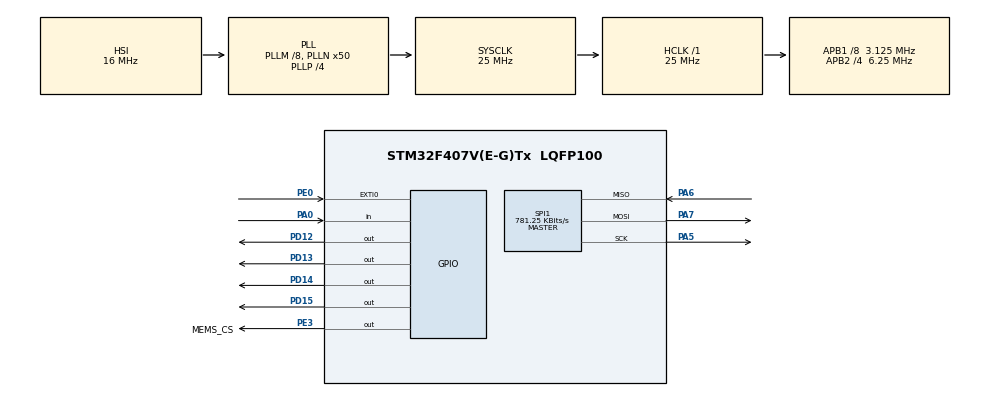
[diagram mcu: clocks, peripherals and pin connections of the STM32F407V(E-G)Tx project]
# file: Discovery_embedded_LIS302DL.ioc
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Mcu.Family=STM32F4
Mcu.Name=STM32F407V(E-G)Tx
Mcu.Package=LQFP100
NVIC.EXTI0_IRQn=true\:0\:0\:false\:false\:true\:true
NVIC.PriorityGroup=NVIC_PRIORITYGROUP_4
PA0-WKUP.Signal=GPIO_Input
PA5.Mode=Full_Duplex_Master
PA5.Signal=SPI1_SCK
PA6.Mode=Full_Duplex_Master
PA6.Signal=SPI1_MISO
PA7.Mode=Full_Duplex_Master
PA7.Signal=SPI1_MOSI
PD12.Signal=GPIO_Output
PD13.Signal=GPIO_Output
PD14.Signal=GPIO_Output
PD15.Signal=GPIO_Output
PE0.Signal=GPXTI0
PE3.GPIO_Label=MEMS_CS
PE3.Signal=GPIO_Output
ProjectManager.HeapSize=0x200
ProjectManager.StackSize=0x400
ProjectManager.TargetToolchain=MDK-ARM V5
RCC.48MHZClocksFreq_Value=25000000
RCC.AHBFreq_Value=25000000
RCC.APB1CLKDivider=RCC_HCLK_DIV8
RCC.APB1Freq_Value=3125000
RCC.APB1TimFreq_Value=6250000
RCC.APB2CLKDivider=RCC_HCLK_DIV4
RCC.APB2Freq_Value=6250000
RCC.APB2TimFreq_Value=12500000
RCC.CortexFreq_Value=25000000
RCC.HCLKFreq_Value=25000000
RCC.HSE_VALUE=25000000
RCC.HSI_VALUE=16000000
RCC.LSE_VALUE=32768
RCC.PLLM=8
RCC.PLLN=50
RCC.PLLP=RCC_PLLP_DIV4
RCC.SYSCLKFreq_VALUE=25000000
RCC.SYSCLKSource=RCC_SYSCLKSOURCE_PLLCLK
RCC.VCOOutputFreq_Value=100000000
SPI1.BaudRatePrescaler=SPI_BAUDRATEPRESCALER_8
SPI1.CalculateBaudRate=781.25 KBits/s
SPI1.Direction=SPI_DIRECTION_2LINES
SPI1.Mode=SPI_MODE_MASTER
SPI1.VirtualType=VM_MASTER
board=custom

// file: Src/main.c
/* USER CODE BEGIN Header */
/**
  ******************************************************************************
  * @file           : main.c
  * @brief          : Main program body
  ******************************************************************************
  ** This notice applies to any and all portions of this file
  * that are not between comment pairs USER CODE BEGIN and
  * USER CODE END. Other portions of this file, whether
  * inserted by the user or by software development tools
  * are owned by their respective copyright owners.
  *
  * COPYRIGHT(c) 2020 STMicroelectronics
  *
  * Redistribution and use in source and binary forms, with or without modification,
  * are permitted provided that the following conditions are met:
  *   1. Redistributions of source code must retain the above copyright notice,
  *      this list of conditions and the following disclaimer.
  *   2. Redistributions in binary form must reproduce the above copyright notice,
  *      this list of conditions and the following disclaimer in the documentation
  *      and/or other materials provided with the distribution.
  *   3. Neither the name of STMicroelectronics nor the names of its contributors
  *      may be used to endorse or promote products derived from this software
  *      without specific prior written permission.
  *
  * THIS SOFTWARE IS PROVIDED BY THE COPYRIGHT HOLDERS AND CONTRIBUTORS "AS IS"
  * AND ANY EXPRESS OR IMPLIED WARRANTIES, INCLUDING, BUT NOT LIMITED TO, THE
  * IMPLIED WARRANTIES OF MERCHANTABILITY AND FITNESS FOR A PARTICULAR PURPOSE ARE
  * DISCLAIMED. IN NO EVENT SHALL THE COPYRIGHT HOLDER OR CONTRIBUTORS BE LIABLE
  * FOR ANY DIRECT, INDIRECT, INCIDENTAL, SPECIAL, EXEMPLARY, OR CONSEQUENTIAL
  * DAMAGES (INCLUDING, BUT NOT LIMITED TO, PROCUREMENT OF SUBSTITUTE GOODS OR
  * SERVICES; LOSS OF USE, DATA, OR PROFITS; OR BUSINESS INTERRUPTION) HOWEVER
  * CAUSED AND ON ANY THEORY OF LIABILITY, WHETHER IN CONTRACT, STRICT LIABILITY,
  * OR TORT (INCLUDING NEGLIGENCE OR OTHERWISE) ARISING IN ANY WAY OUT OF THE USE
  * OF THIS SOFTWARE, EVEN IF ADVISED OF THE POSSIBILITY OF SUCH DAMAGE.
  *
  ******************************************************************************
  */
/* USER CODE END Header */

#include "main.h"

/* USER CODE BEGIN Includes */
#include "MY_LIS3DSH.h"
/* USER CODE END Includes */

SPI_HandleTypeDef hspi1;

void SystemClock_Config(void);
static void MX_GPIO_Init(void);
static void MX_SPI1_Init(void);

/* USER CODE BEGIN 0 */
	LIS3DSH_DataScaled accData;
/* USER CODE END 0 */

int main(void)
{
  /* USER CODE BEGIN 1 */
	LIS3DSH_InitTypeDef accConfig;
  /* USER CODE END 1 */

  /* MCU Configuration--------------------------------------------------------*/

  /* Reset of all peripherals, Initializes the Flash interface and the Systick. */
  HAL_Init();

  /* Configure the system clock */
  SystemClock_Config();

  /* Initialize all configured peripherals */
  MX_GPIO_Init();
  MX_SPI1_Init();
  /* USER CODE BEGIN 2 */
	accConfig.dataRate = LIS3DSH_DATARATE_12_5 ;
	accConfig.fullScale = LIS3DSH_FULLSCALE_4 ;
	accConfig.antiAliasingBW = LIS3DSH_FILTER_BW_50;
	accConfig.enableAxes = LIS3DSH_XYZ_ENABLE;
	accConfig.interruptEnable = false;

  LIS3DSH_Init(&hspi1, &accConfig);

	LIS3DSH_X_calibrate(-1000.0, 980.0);
	LIS3DSH_Y_calibrate(-1020.0, 1040.0);
	LIS3DSH_Z_calibrate(-920.0, 1040.0);

	/* USER CODE END 2 */

  /* Infinite loop */
  while (1)
  {

    /* USER CODE BEGIN 3 */
		if(LIS3DSH_PollDRDY(1000) == true){
			accData = LIS3DSH_GetDataScaled();
			HAL_GPIO_TogglePin(GPIOD, GPIO_PIN_12);
			if(accData.x < 0 )HAL_GPIO_TogglePin(GPIOD, GPIO_PIN_14);
			else if(accData.x >= 0)HAL_GPIO_WritePin(GPIOD,GPIO_PIN_14, 0x00);
  }
  /* USER CODE END 3 */
}

void SystemClock_Config(void)
{
  RCC_OscInitTypeDef RCC_OscInitStruct = {0};
  RCC_ClkInitTypeDef RCC_ClkInitStruct = {0};

  /**Configure the main internal regulator output voltage
  */
  __HAL_RCC_PWR_CLK_ENABLE();
  __HAL_PWR_VOLTAGESCALING_CONFIG(PWR_REGULATOR_VOLTAGE_SCALE1);
  /**Initializes the CPU, AHB and APB busses clocks
  */
  RCC_OscInitStruct.OscillatorType = RCC_OSCILLATORTYPE_HSI;
  RCC_OscInitStruct.HSIState = RCC_HSI_ON;
  RCC_OscInitStruct.HSICalibrationValue = RCC_HSICALIBRATION_DEFAULT;
  RCC_OscInitStruct.PLL.PLLState = RCC_PLL_ON;
  RCC_OscInitStruct.PLL.PLLSource = RCC_PLLSOURCE_HSI;
  RCC_OscInitStruct.PLL.PLLM = 8;
  RCC_OscInitStruct.PLL.PLLN = 50;
  RCC_OscInitStruct.PLL.PLLP = RCC_PLLP_DIV4;
  RCC_OscInitStruct.PLL.PLLQ = 4;
  if (HAL_RCC_OscConfig(&RCC_OscInitStruct) != HAL_OK)
  {
    Error_Handler();
  }
  /**Initializes the CPU, AHB and APB busses clocks
  */
  RCC_ClkInitStruct.ClockType = RCC_CLOCKTYPE_HCLK|RCC_CLOCKTYPE_SYSCLK
                              |RCC_CLOCKTYPE_PCLK1|RCC_CLOCKTYPE_PCLK2;
  RCC_ClkInitStruct.SYSCLKSource = RCC_SYSCLKSOURCE_PLLCLK;
  RCC_ClkInitStruct.AHBCLKDivider = RCC_SYSCLK_DIV1;
  RCC_ClkInitStruct.APB1CLKDivider = RCC_HCLK_DIV8;
  RCC_ClkInitStruct.APB2CLKDivider = RCC_HCLK_DIV4;

  if (HAL_RCC_ClockConfig(&RCC_ClkInitStruct, FLASH_LATENCY_0) != HAL_OK)
  {
    Error_Handler();
  }
}

static void MX_SPI1_Init(void)
{

  /* SPI1 parameter configuration*/
  hspi1.Instance = SPI1;
  hspi1.Init.Mode = SPI_MODE_MASTER;
  hspi1.Init.Direction = SPI_DIRECTION_2LINES;
  hspi1.Init.DataSize = SPI_DATASIZE_8BIT;
  hspi1.Init.CLKPolarity = SPI_POLARITY_LOW;
  hspi1.Init.CLKPhase = SPI_PHASE_1EDGE;
  hspi1.Init.NSS = SPI_NSS_SOFT;
  hspi1.Init.BaudRatePrescaler = SPI_BAUDRATEPRESCALER_8;
  hspi1.Init.FirstBit = SPI_FIRSTBIT_MSB;
  hspi1.Init.TIMode = SPI_TIMODE_DISABLE;
  hspi1.Init.CRCCalculation = SPI_CRCCALCULATION_DISABLE;
  hspi1.Init.CRCPolynomial = 10;
  if (HAL_SPI_Init(&hspi1) != HAL_OK)
  {
    Error_Handler();
  }

}

static void MX_GPIO_Init(void)
{
  GPIO_InitTypeDef GPIO_InitStruct = {0};

  /* GPIO Ports Clock Enable */
  __HAL_RCC_GPIOE_CLK_ENABLE();
  __HAL_RCC_GPIOA_CLK_ENABLE();
  __HAL_RCC_GPIOD_CLK_ENABLE();

  /*Configure GPIO pin Output Level */
  HAL_GPIO_WritePin(MEMS_CS_GPIO_Port, MEMS_CS_Pin, GPIO_PIN_RESET);

  /*Configure GPIO pin Output Level */
  HAL_GPIO_WritePin(GPIOD, GPIO_PIN_12|GPIO_PIN_13|GPIO_PIN_14|GPIO_PIN_15, GPIO_PIN_RESET);

  /*Configure GPIO pin : MEMS_CS_Pin */
  GPIO_InitStruct.Pin = MEMS_CS_Pin;
  GPIO_InitStruct.Mode = GPIO_MODE_OUTPUT_PP;
  GPIO_InitStruct.Pull = GPIO_NOPULL;
  GPIO_InitStruct.Speed = GPIO_SPEED_FREQ_LOW;
  HAL_GPIO_Init(MEMS_CS_GPIO_Port, &GPIO_InitStruct);

  /*Configure GPIO pin : PA0 */
  GPIO_InitStruct.Pin = GPIO_PIN_0;
  GPIO_InitStruct.Mode = GPIO_MODE_INPUT;
  GPIO_InitStruct.Pull = GPIO_NOPULL;
  HAL_GPIO_Init(GPIOA, &GPIO_InitStruct);

  /*Configure GPIO pins : PD12 PD13 PD14 PD15 */
  GPIO_InitStruct.Pin = GPIO_PIN_12|GPIO_PIN_13|GPIO_PIN_14|GPIO_PIN_15;
  GPIO_InitStruct.Mode = GPIO_MODE_OUTPUT_PP;
  GPIO_InitStruct.Pull = GPIO_NOPULL;
  GPIO_InitStruct.Speed = GPIO_SPEED_FREQ_LOW;
  HAL_GPIO_Init(GPIOD, &GPIO_InitStruct);

  /*Configure GPIO pin : PE0 */
  GPIO_InitStruct.Pin = GPIO_PIN_0;
  GPIO_InitStruct.Mode = GPIO_MODE_IT_RISING;
  GPIO_InitStruct.Pull = GPIO_NOPULL;
  HAL_GPIO_Init(GPIOE, &GPIO_InitStruct);

  /* EXTI interrupt init*/
  HAL_NVIC_SetPriority(EXTI0_IRQn, 0, 0);
  HAL_NVIC_EnableIRQ(EXTI0_IRQn);

}

void Error_Handler(void)
{
}

/************************ (C) COPYRIGHT STMicroelectronics *****END OF FILE****/
